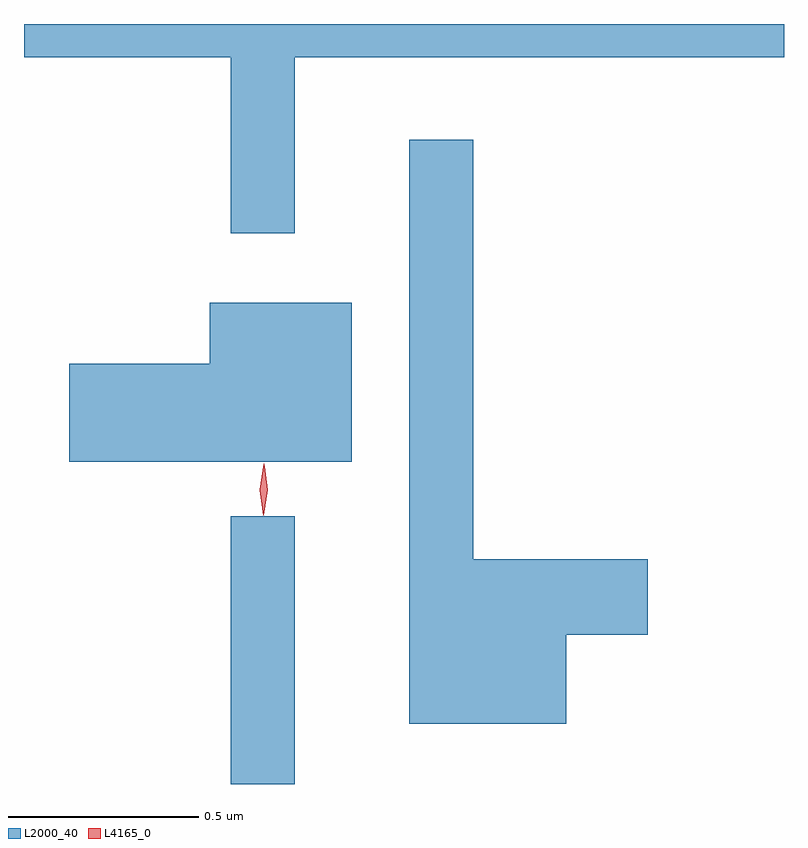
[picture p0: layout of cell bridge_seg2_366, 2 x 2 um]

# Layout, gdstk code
import gdstk
lib = gdstk.Library(unit=1e-6, precision=1e-09)
def R(c, l, rs):  # rectangles x0, y0, x1, y1
    for r in rs: c.add(gdstk.rectangle(r[:2], r[2:], *l))
def P(c, l, *ps):  # polygons
    for p in ps: c.add(gdstk.Polygon(p, *l))
L2000_40 = (2000, 40)
L4165_0 = (4165, 0)

bridge_seg2_366 = lib.new_cell('bridge_seg2_366')
R(bridge_seg2_366, L2000_40, [(388.141,1035.303,388.309,1036.007)])
P(bridge_seg2_366, L2000_40, [(388.309,1037.216),(389.597,1037.216),(389.597,1037.303),(387.597,1037.303),(387.597,1037.216),(388.141,1037.216),(388.141,1036.753),(388.309,1036.753)],
  [(389.024,1035.696),(389.239,1035.696),(389.239,1035.894),(388.779,1035.894),(388.779,1036.998),(388.611,1036.998),(388.611,1035.461),(389.024,1035.461)],
  [(388.459,1036.569),(388.086,1036.569),(388.086,1036.409),(387.716,1036.409),(387.716,1036.151),(388.459,1036.151)])
P(bridge_seg2_366, L4165_0, [(388.227,1036.01),(388.227,1036.01),(388.218,1036.078),(388.228,1036.146),(388.229,1036.146),(388.229,1036.146),(388.238,1036.078),(388.228,1036.01)],
  [(388.227,1036.013),(388.227,1036.013),(388.218,1036.076),(388.229,1036.139),(388.229,1036.14),(388.23,1036.139),(388.238,1036.076),(388.228,1036.013)])

lib.write_gds('bridge_seg2_366.gds')
